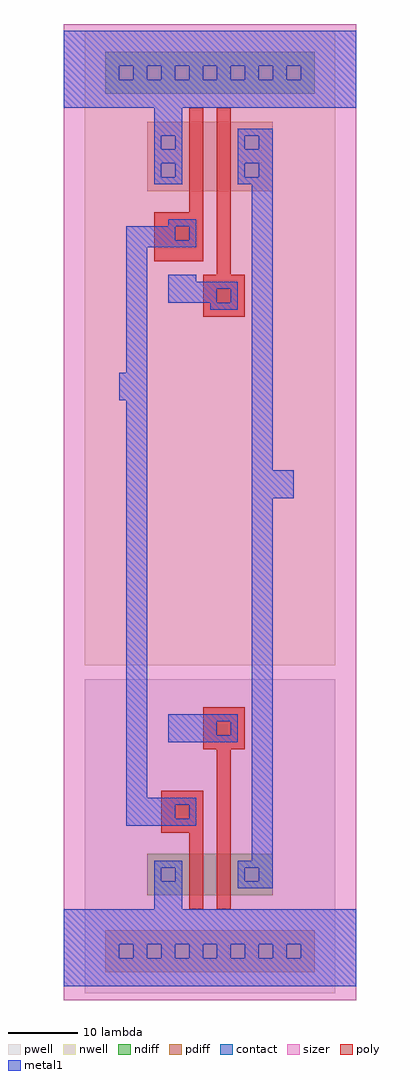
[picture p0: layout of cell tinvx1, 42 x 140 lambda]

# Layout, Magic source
magic
tech concept
<< sizer >>
rect 0 0 42 140
<< metal1 >>
rect 0 134 42 139
rect 0 132 8 134
rect 10 132 12 134
rect 14 132 16 134
rect 18 132 20 134
rect 22 132 24 134
rect 26 132 28 134
rect 30 132 32 134
rect 34 132 42 134
rect 0 128 42 132
rect 13 124 17 128
rect 25 124 30 125
rect 13 122 14 124
rect 16 122 17 124
rect 25 122 26 124
rect 28 122 30 124
rect 13 120 17 122
rect 25 120 30 122
rect 13 118 14 120
rect 16 118 17 120
rect 25 118 26 120
rect 28 118 30 120
rect 13 117 17 118
rect 25 117 30 118
rect 27 76 30 117
rect 15 111 19 112
rect 9 109 16 111
rect 18 109 19 111
rect 9 108 19 109
rect 9 90 12 108
rect 15 103 19 104
rect 15 102 25 103
rect 15 100 22 102
rect 24 100 25 102
rect 21 99 25 100
rect 8 86 12 90
rect 9 29 12 86
rect 27 72 33 76
rect 27 20 30 72
rect 15 40 25 41
rect 15 38 22 40
rect 24 38 25 40
rect 15 37 25 38
rect 9 28 19 29
rect 9 26 16 28
rect 18 26 19 28
rect 9 25 19 26
rect 13 19 17 20
rect 25 19 30 20
rect 13 17 14 19
rect 16 17 17 19
rect 25 17 26 19
rect 28 17 30 19
rect 13 13 17 17
rect 25 16 30 17
rect 0 8 42 13
rect 0 6 8 8
rect 10 6 12 8
rect 14 6 16 8
rect 18 6 20 8
rect 22 6 24 8
rect 26 6 28 8
rect 30 6 32 8
rect 34 6 42 8
rect 0 2 42 6
<< contact >>
rect 8 132 10 134
rect 12 132 14 134
rect 16 132 18 134
rect 20 132 22 134
rect 24 132 26 134
rect 28 132 30 134
rect 32 132 34 134
rect 14 122 16 124
rect 26 122 28 124
rect 14 118 16 120
rect 26 118 28 120
rect 16 109 18 111
rect 22 100 24 102
rect 22 38 24 40
rect 16 26 18 28
rect 14 17 16 19
rect 26 17 28 19
rect 8 6 10 8
rect 12 6 14 8
rect 16 6 18 8
rect 20 6 22 8
rect 24 6 26 8
rect 28 6 30 8
rect 32 6 34 8
<< poly >>
rect 18 113 20 128
rect 22 104 24 128
rect 13 106 20 113
rect 20 98 26 104
rect 20 36 26 42
rect 22 13 24 36
rect 14 24 20 30
rect 18 13 20 24
<< ndiff >>
rect 6 130 36 136
rect 12 15 30 21
<< pdiff >>
rect 12 116 30 126
rect 6 4 36 10
<< nwell >>
rect 3 48 39 139
<< pwell >>
rect 3 1 39 46
<< end >>
